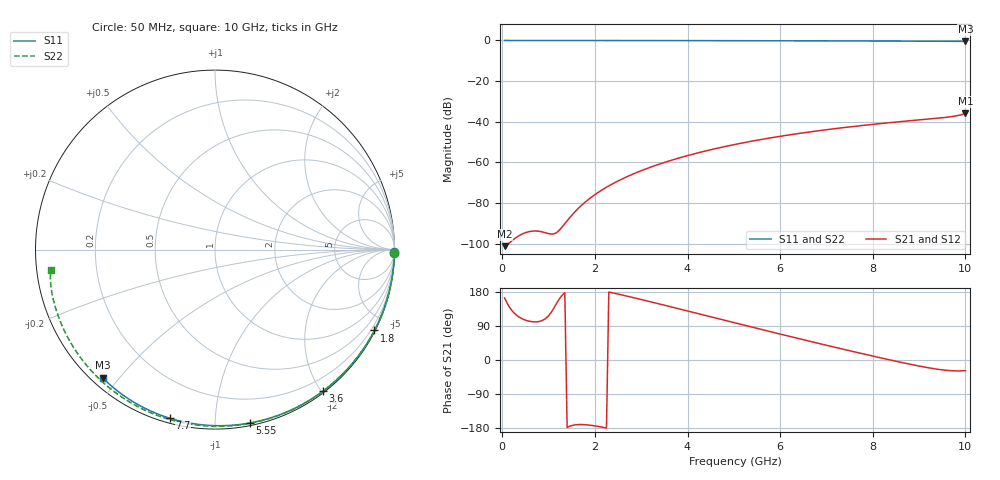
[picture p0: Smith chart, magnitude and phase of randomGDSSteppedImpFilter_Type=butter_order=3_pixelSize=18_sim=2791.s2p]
! freq	dB(S11)	phase(S11)	dB(S12)	phase(S12)
!  dB(S21)	phase(S21)	dB(S22)	phase(S22)
!S-par simulation data
#  GHz  S  DB  R 50
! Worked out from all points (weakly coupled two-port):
!   200 points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, 50 MHz to 10 GHz, reference 50 ohm
!   highest |S21| = -35.89 dB at 10 GHz (marker M1); lowest = -101.2 dB at 50 MHz (marker M2)
!   lowest |S11| = -0.4 dB at 10 GHz (marker M3), VSWR 38.85, Z = 1.55 - j22.6 ohm
!   |S11| at or under -10 dB: nowhere
!   |S22| runs from -0.7 to 0.0 dB; largest |S21 - S12| = 0
!   S11 on the Smith chart (normalised r, x): 50 MHz: open; 1.8 GHz: 0.04, -4.18; 3.6 GHz: 0.02, -2.02; 5.55 GHz: 0.02, -1.22; 7.7 GHz: 0.02, -0.77; 10 GHz: 0.03, -0.45
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0.05  -0.00 -0.8  -101.16 163.8  -101.16 163.8  -0.00 -1.0
0.45  -0.01 -6.8  -94.95 107.6  -94.95 107.6  -0.01 -8.9
0.85  -0.02 -12.8  -94.07 103.7  -94.07 103.7  -0.02 -16.8
1.3  -0.02 -19.5  -91.54 171.8  -91.54 171.8  -0.03 -25.6
1.75  -0.03 -26.2  -80.27 -170.5  -80.27 -170.5  -0.04 -34.3
1.8  -0.03 -26.9  -79.30 -170.9  -79.30 -170.9  -0.05 -35.2
2.1  -0.04 -31.3  -74.28 -175.9  -74.28 -175.9  -0.05 -40.9
2.5  -0.05 -37.1  -69.09 174.0  -69.09 174.0  -0.06 -48.4
2.9  -0.06 -42.8  -64.95 162.6  -64.95 162.6  -0.07 -55.8
3.4  -0.07 -49.8  -60.74 147.6  -60.74 147.6  -0.09 -64.8
3.6  -0.07 -52.6  -59.27 141.6  -59.27 141.6  -0.09 -68.3
4.3  -0.09 -62.2  -54.84 120.2  -54.84 120.2  -0.11 -80.5
5.05  -0.11 -72.1  -51.02 97.2  -51.02 97.2  -0.14 -93.1
5.55  -0.13 -78.6  -48.86 82.0  -48.86 82.0  -0.17 -101.2
6.1  -0.15 -85.5  -46.78 65.4  -46.78 65.4  -0.20 -110.0
6.7  -0.18 -93.0  -44.79 47.6  -44.79 47.6  -0.23 -119.4
7.7  -0.24 -105.0  -41.99 18.8  -41.99 18.8  -0.31 -134.9
8.35  -0.29 -112.5  -40.44 0.7  -40.44 0.7  -0.37 -144.9
9  -0.34 -120.0  -39.07 -16.0  -39.07 -16.0  -0.44 -155.1
9.6  -0.40 -126.8  -37.76 -27.4  -37.76 -27.4  -0.53 -165.1
9.85  -0.43 -129.6  -36.87 -28.8  -36.87 -28.8  -0.61 -169.8
10  -0.45 -131.3  -35.89 -28.0  -35.89 -28.0  -0.71 -172.8
